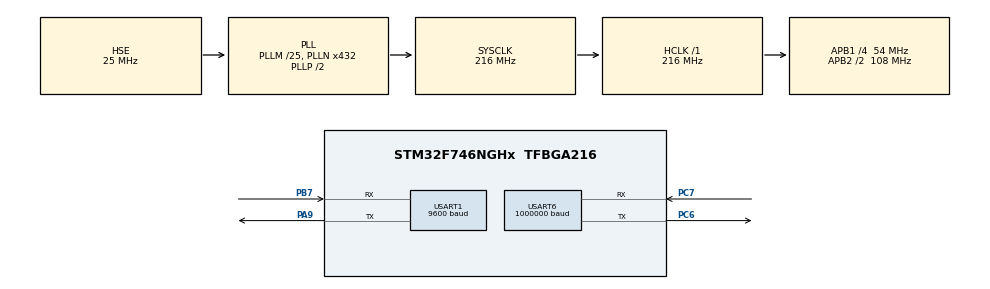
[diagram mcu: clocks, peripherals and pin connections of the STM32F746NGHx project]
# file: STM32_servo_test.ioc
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Mcu.Family=STM32F7
Mcu.Name=STM32F746NGHx
Mcu.Package=TFBGA216
NVIC.PriorityGroup=NVIC_PRIORITYGROUP_4
NVIC.USART1_IRQn=true\:0\:0\:false\:false\:true\:true\:true\:true
PA13.Mode=Serial_Wire
PA13.Signal=SYS_JTMS-SWDIO
PA14.Mode=Serial_Wire
PA14.Signal=SYS_JTCK-SWCLK
PA9.Mode=Asynchronous
PA9.Signal=USART1_TX
PB7.Mode=Asynchronous
PB7.Signal=USART1_RX
PC6.Mode=Asynchronous
PC6.Signal=USART6_TX
PC7.Mode=Asynchronous
PC7.Signal=USART6_RX
PH0/OSC_IN.Mode=HSE-External-Oscillator
PH0/OSC_IN.Signal=RCC_OSC_IN
PH1/OSC_OUT.Mode=HSE-External-Oscillator
PH1/OSC_OUT.Signal=RCC_OSC_OUT
ProjectManager.HeapSize=0x200
ProjectManager.StackSize=0x400
ProjectManager.TargetToolchain=STM32CubeIDE
RCC.AHBFreq_Value=216000000
RCC.APB1CLKDivider=RCC_HCLK_DIV4
RCC.APB1Freq_Value=54000000
RCC.APB1TimFreq_Value=108000000
RCC.APB2CLKDivider=RCC_HCLK_DIV2
RCC.APB2Freq_Value=108000000
RCC.APB2TimFreq_Value=216000000
RCC.CortexFreq_Value=216000000
RCC.HCLKFreq_Value=216000000
RCC.HSE_VALUE=25000000
RCC.HSI_VALUE=16000000
RCC.LSE_VALUE=32768
RCC.PLLM=25
RCC.PLLN=432
RCC.PLLSourceVirtual=RCC_PLLSOURCE_HSE
RCC.SYSCLKFreq_VALUE=216000000
RCC.SYSCLKSource=RCC_SYSCLKSOURCE_PLLCLK
RCC.USBFreq_Value=216000000
RCC.VCOOutputFreq_Value=432000000
USART1.BaudRate=9600
USART1.VirtualMode-Asynchronous=VM_ASYNC
USART6.BaudRate=1000000
USART6.VirtualMode-Asynchronous=VM_ASYNC
board=STM32F746G-DISCO

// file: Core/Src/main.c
/* USER CODE BEGIN Header */
/**
  ******************************************************************************
  * @file           : main.c
  * @brief          : Main program body
  ******************************************************************************
  * @attention
  *
  * Copyright (c) 2022 STMicroelectronics.
  * All rights reserved.
  *
  * This software is licensed under terms that can be found in the LICENSE file
  * in the root directory of this software component.
  * If no LICENSE file comes with this software, it is provided AS-IS.
  *
  ******************************************************************************
  */
/* USER CODE END Header */
#include "main.h"
#include "usart.h"
#include "gpio.h"

/* USER CODE BEGIN Includes */
#include "update_crc.h"
/* USER CODE END Includes */

void SystemClock_Config(void);

int main(void)
{

  /* MCU Configuration--------------------------------------------------------*/

  /* Reset of all peripherals, Initializes the Flash interface and the Systick. */
  HAL_Init();

  /* Configure the system clock */
  SystemClock_Config();

  /* Initialize all configured peripherals */
  MX_GPIO_Init();
  MX_USART1_UART_Init();
  MX_USART6_UART_Init();
  /* USER CODE BEGIN 2 */
	uint16_t		crc_accum = 0;
	uint16_t		CRC_2;
	unsigned char	CRC_L = 0;
	unsigned char	CRC_H = 0;
	uint16_t		data_blk_size = 14; //size of TxPacket
	// TxPacket format {0xFF, 0xFF, 0xFD, 0x00, ID, Len_L, Len_H, Instruction, Param 1, CRC_L, CRC_H};
  /* USER CODE END 2 */

  /* Infinite loop */
  /* USER CODE BEGIN WHILE */
	HAL_Delay(1000);
	unsigned char	TxPacket[13] = {0xFF, 0xFF, 0xFD, 0x00, 0xFE, 0x06, 0x00, 0x03, 0x19, 0x00, 0x01, CRC_L, CRC_H};
	CRC_2 = update_crc(0, TxPacket, 11);
	CRC_L = (CRC_2 & 0x00FF);
	CRC_H = ((CRC_2>>8) & 0x00FF);
	TxPacket[11] = CRC_L;
	TxPacket[12] = CRC_H;

	HAL_UART_Transmit(&huart6,&TxPacket,13,HAL_MAX_DELAY);

	HAL_Delay(1000);
	TxPacket[10] = 0x00;
	CRC_2 = update_crc(0, TxPacket, 11);
	CRC_L = (CRC_2 & 0x00FF);
	CRC_H = ((CRC_2>>8) & 0x00FF);
	TxPacket[11] = CRC_L;
	TxPacket[12] = CRC_H;

	HAL_UART_Transmit(&huart6,&TxPacket,13,HAL_MAX_DELAY);

	HAL_Delay(1000);
	unsigned char	TxPacket2[14] = {0xFF, 0xFF, 0xFD, 0x00, 0xFE, 0x07, 0x00, 0x03, 0x1E, 0x00, 0x2C, 0x01, CRC_L, CRC_H};
	CRC_2 = update_crc(0, TxPacket2, 12);
	CRC_L = (CRC_2 & 0x00FF);
	CRC_H = ((CRC_2>>8) & 0x00FF);
	TxPacket2[12] = CRC_L;
	TxPacket2[13] = CRC_H;

	HAL_UART_Transmit(&huart6,&TxPacket2,14,HAL_MAX_DELAY);

	HAL_Delay(1000);
	TxPacket2[10] = 0x00;
	TxPacket2[11] = 0x00;
	CRC_2 = update_crc(0, TxPacket2, 12);
	CRC_L = (CRC_2 & 0x00FF);
	CRC_H = ((CRC_2>>8) & 0x00FF);
	TxPacket2[12] = CRC_L;
	TxPacket2[13] = CRC_H;

	HAL_UART_Transmit(&huart6,&TxPacket2,14,HAL_MAX_DELAY);

	while (1) {
    /* USER CODE END WHILE */

	}
}

void SystemClock_Config(void)
{
  RCC_OscInitTypeDef RCC_OscInitStruct = {0};
  RCC_ClkInitTypeDef RCC_ClkInitStruct = {0};

  /** Configure the main internal regulator output voltage
  */
  __HAL_RCC_PWR_CLK_ENABLE();
  __HAL_PWR_VOLTAGESCALING_CONFIG(PWR_REGULATOR_VOLTAGE_SCALE1);

  /** Initializes the RCC Oscillators according to the specified parameters
  * in the RCC_OscInitTypeDef structure.
  */
  RCC_OscInitStruct.OscillatorType = RCC_OSCILLATORTYPE_HSE;
  RCC_OscInitStruct.HSEState = RCC_HSE_ON;
  RCC_OscInitStruct.PLL.PLLState = RCC_PLL_ON;
  RCC_OscInitStruct.PLL.PLLSource = RCC_PLLSOURCE_HSE;
  RCC_OscInitStruct.PLL.PLLM = 25;
  RCC_OscInitStruct.PLL.PLLN = 432;
  RCC_OscInitStruct.PLL.PLLP = RCC_PLLP_DIV2;
  RCC_OscInitStruct.PLL.PLLQ = 2;
  if (HAL_RCC_OscConfig(&RCC_OscInitStruct) != HAL_OK)
  {
    Error_Handler();
  }

  /** Activate the Over-Drive mode
  */
  if (HAL_PWREx_EnableOverDrive() != HAL_OK)
  {
    Error_Handler();
  }

  /** Initializes the CPU, AHB and APB buses clocks
  */
  RCC_ClkInitStruct.ClockType = RCC_CLOCKTYPE_HCLK|RCC_CLOCKTYPE_SYSCLK
                              |RCC_CLOCKTYPE_PCLK1|RCC_CLOCKTYPE_PCLK2;
  RCC_ClkInitStruct.SYSCLKSource = RCC_SYSCLKSOURCE_PLLCLK;
  RCC_ClkInitStruct.AHBCLKDivider = RCC_SYSCLK_DIV1;
  RCC_ClkInitStruct.APB1CLKDivider = RCC_HCLK_DIV4;
  RCC_ClkInitStruct.APB2CLKDivider = RCC_HCLK_DIV2;

  if (HAL_RCC_ClockConfig(&RCC_ClkInitStruct, FLASH_LATENCY_7) != HAL_OK)
  {
    Error_Handler();
  }
}

void Error_Handler(void)
{
	__disable_irq();
	while (1) {
	}
}
